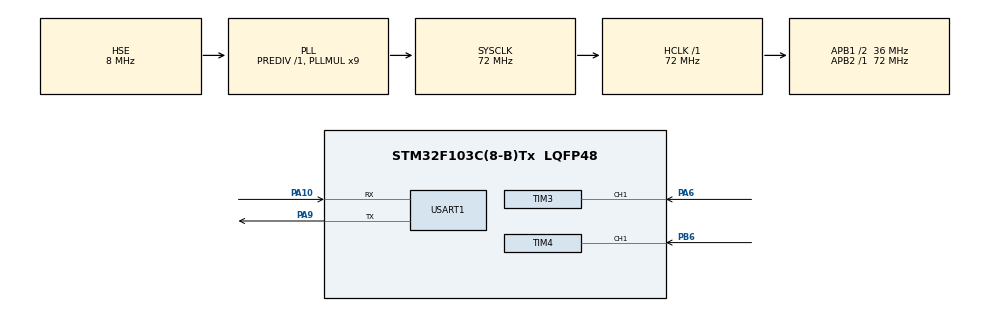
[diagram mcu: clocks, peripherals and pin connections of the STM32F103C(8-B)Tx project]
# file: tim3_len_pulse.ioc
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Mcu.Family=STM32F1
Mcu.Name=STM32F103C(8-B)Tx
Mcu.Package=LQFP48
NVIC.PriorityGroup=NVIC_PRIORITYGROUP_4
NVIC.TIM3_IRQn=true\:0\:0\:false\:false\:true\:true
NVIC.TIM4_IRQn=true\:0\:0\:false\:false\:true\:true
PA10.Mode=Asynchronous
PA10.Signal=USART1_RX
PA13.Mode=Serial_Wire
PA13.Signal=SYS_JTMS-SWDIO
PA14.Mode=Serial_Wire
PA14.Signal=SYS_JTCK-SWCLK
PA6.Signal=S_TIM3_CH1
PA9.Mode=Asynchronous
PA9.Signal=USART1_TX
PB6.Signal=S_TIM4_CH1
PD0-OSC_IN.Mode=HSE-External-Oscillator
PD0-OSC_IN.Signal=RCC_OSC_IN
PD1-OSC_OUT.Mode=HSE-External-Oscillator
PD1-OSC_OUT.Signal=RCC_OSC_OUT
ProjectManager.HeapSize=0x200
ProjectManager.StackSize=0x400
ProjectManager.TargetToolchain=TrueSTUDIO
RCC.AHBFreq_Value=72000000
RCC.APB1CLKDivider=RCC_HCLK_DIV2
RCC.APB1Freq_Value=36000000
RCC.APB1TimFreq_Value=72000000
RCC.APB2Freq_Value=72000000
RCC.APB2TimFreq_Value=72000000
RCC.HCLKFreq_Value=72000000
RCC.PLLMUL=RCC_PLL_MUL9
RCC.PLLSourceVirtual=RCC_PLLSOURCE_HSE
RCC.SYSCLKFreq_VALUE=72000000
RCC.SYSCLKSource=RCC_SYSCLKSOURCE_PLLCLK
RCC.USBFreq_Value=72000000
SH.S_TIM3_CH1.0=TIM3_CH1,Input_Capture1_from_TI1
SH.S_TIM3_CH1.1=TIM3_CH1,Input_Capture2_from_TI1
SH.S_TIM4_CH1.0=TIM4_CH1,Input_Capture1_from_TI1
TIM3.Channel-Input_Capture1_from_TI1=TIM_CHANNEL_1
TIM3.Channel-Input_Capture2_from_TI1=TIM_CHANNEL_2
TIM3.ClockDivision=TIM_CLOCKDIVISION_DIV1
TIM3.ICPolarity_CH1=TIM_INPUTCHANNELPOLARITY_RISING
TIM3.ICPolarity_CH2=TIM_INPUTCHANNELPOLARITY_FALLING
TIM3.ICPrescaler-Input_Capture1_from_TI1=TIM_ICPSC_DIV1
TIM3.Period=65535
TIM3.Prescaler=72
TIM4.Channel-Input_Capture1_from_TI1=TIM_CHANNEL_1
TIM4.Period=65535
TIM4.Prescaler=72
USART1.VirtualMode=VM_ASYNC
board=custom

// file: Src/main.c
/* USER CODE BEGIN Header */
/**
  ******************************************************************************
  * @file           : main.c
  * @brief          : Main program body
  ******************************************************************************
  ** This notice applies to any and all portions of this file
  * that are not between comment pairs USER CODE BEGIN and
  * USER CODE END. Other portions of this file, whether
  * inserted by the user or by software development tools
  * are owned by their respective copyright owners.
  *
  * COPYRIGHT(c) 2019 STMicroelectronics
  *
  * Redistribution and use in source and binary forms, with or without modification,
  * are permitted provided that the following conditions are met:
  *   1. Redistributions of source code must retain the above copyright notice,
  *      this list of conditions and the following disclaimer.
  *   2. Redistributions in binary form must reproduce the above copyright notice,
  *      this list of conditions and the following disclaimer in the documentation
  *      and/or other materials provided with the distribution.
  *   3. Neither the name of STMicroelectronics nor the names of its contributors
  *      may be used to endorse or promote products derived from this software
  *      without specific prior written permission.
  *
  * THIS SOFTWARE IS PROVIDED BY THE COPYRIGHT HOLDERS AND CONTRIBUTORS "AS IS"
  * AND ANY EXPRESS OR IMPLIED WARRANTIES, INCLUDING, BUT NOT LIMITED TO, THE
  * IMPLIED WARRANTIES OF MERCHANTABILITY AND FITNESS FOR A PARTICULAR PURPOSE ARE
  * DISCLAIMED. IN NO EVENT SHALL THE COPYRIGHT HOLDER OR CONTRIBUTORS BE LIABLE
  * FOR ANY DIRECT, INDIRECT, INCIDENTAL, SPECIAL, EXEMPLARY, OR CONSEQUENTIAL
  * DAMAGES (INCLUDING, BUT NOT LIMITED TO, PROCUREMENT OF SUBSTITUTE GOODS OR
  * SERVICES; LOSS OF USE, DATA, OR PROFITS; OR BUSINESS INTERRUPTION) HOWEVER
  * CAUSED AND ON ANY THEORY OF LIABILITY, WHETHER IN CONTRACT, STRICT LIABILITY,
  * OR TORT (INCLUDING NEGLIGENCE OR OTHERWISE) ARISING IN ANY WAY OUT OF THE USE
  * OF THIS SOFTWARE, EVEN IF ADVISED OF THE POSSIBILITY OF SUCH DAMAGE.
  *
  ******************************************************************************
  */
/* USER CODE END Header */

#include "main.h"

/* USER CODE BEGIN Includes */
#include "string.h"
/* USER CODE END Includes */

TIM_HandleTypeDef htim3;
TIM_HandleTypeDef htim4;

UART_HandleTypeDef huart1;

/* USER CODE BEGIN PV */
char trans_str[20] = {0,};
volatile uint32_t pulse_width = 0;

uint32_t rising_val = 0;
uint32_t faling_val = 0;
/* USER CODE END PV */

void SystemClock_Config(void);
static void MX_GPIO_Init(void);
static void MX_TIM3_Init(void);
static void MX_USART1_UART_Init(void);
static void MX_TIM4_Init(void);

/* USER CODE BEGIN 0 */
//////////////////////////////////////// MAX LEN PERIOD 65ms /////////////////////////////////////////////////////
void HAL_TIM_IC_CaptureCallback(TIM_HandleTypeDef *htim)
{
	if(htim->Instance == TIM3) // period or pulse
	{
		////////////////////////////////// pulse_width varian 1 ///////////////////////////////////////
		/*if(htim->Channel == HAL_TIM_ACTIVE_CHANNEL_1) // RISING с LOW на HIGH
		{
			rising_val = HAL_TIM_ReadCapturedValue(&htim3, TIM_CHANNEL_1); // Get RISING Capture value
		}

		else if(htim->Channel == HAL_TIM_ACTIVE_CHANNEL_2) // FALLING с HIGH на LOW
		{
			__HAL_TIM_SET_COUNTER(&htim3, 0x0000);
			faling_val = HAL_TIM_ReadCapturedValue(&htim3, TIM_CHANNEL_2); // Get FALLING Capture value
			pulse_width = (faling_val - rising_val);
			snprintf(trans_str, 19, "Pulse 1 %lu\n", pulse_width);
			HAL_UART_Transmit(&huart1, (uint8_t*)trans_str, strlen(trans_str), 1000);
		}*/

		////////////////////////////////// pulse_width varian 2 ///////////////////////////////////////
		if(htim->Channel == HAL_TIM_ACTIVE_CHANNEL_1) // RISING с LOW на HIGH
		{
			__HAL_TIM_SET_COUNTER(&htim3, 0x0000);
		}

		else if(htim->Channel == HAL_TIM_ACTIVE_CHANNEL_2) // FALLING с HIGH на LOW
		{
			faling_val = HAL_TIM_ReadCapturedValue(&htim3, TIM_CHANNEL_2); // Get FALLING Capture value
			snprintf(trans_str, 19, "Pulse 2 %lu\n", faling_val);
			HAL_UART_Transmit(&huart1, (uint8_t*)trans_str, strlen(trans_str), 1000);
		}
	}

	if(htim->Instance == TIM4) //  period (one channel)
	{
		if(htim->Channel == HAL_TIM_ACTIVE_CHANNEL_1)
		{
			__HAL_TIM_SET_COUNTER(&htim4, 0x0000);
			snprintf(trans_str, 19, "Per1ch %lu\n", HAL_TIM_ReadCapturedValue(&htim4, TIM_CHANNEL_1));
			HAL_UART_Transmit(&huart1, (uint8_t*)trans_str, strlen(trans_str), 1000);
		}
	}
}

//       _______          _______
// _____|       |________|       |__
//
//      | pulse |
//      |     period     |

/* USER CODE END 0 */

int main(void)
{

  /* MCU Configuration--------------------------------------------------------*/

  /* Reset of all peripherals, Initializes the Flash interface and the Systick. */
  HAL_Init();

  /* Configure the system clock */
  SystemClock_Config();

  /* Initialize all configured peripherals */
  MX_GPIO_Init();
  MX_TIM3_Init();
  MX_USART1_UART_Init();
  MX_TIM4_Init();
  /* USER CODE BEGIN 2 */
  HAL_TIM_IC_Start_IT(&htim3, TIM_CHANNEL_1);
  HAL_TIM_IC_Start_IT(&htim3, TIM_CHANNEL_2);
  HAL_TIM_IC_Start_IT(&htim4, TIM_CHANNEL_1);
  /* USER CODE END 2 */

  /* Infinite loop */
  while (1)
  {

  }
}

void SystemClock_Config(void)
{
  RCC_OscInitTypeDef RCC_OscInitStruct = {0};
  RCC_ClkInitTypeDef RCC_ClkInitStruct = {0};

  /**Initializes the CPU, AHB and APB busses clocks
  */
  RCC_OscInitStruct.OscillatorType = RCC_OSCILLATORTYPE_HSE;
  RCC_OscInitStruct.HSEState = RCC_HSE_ON;
  RCC_OscInitStruct.HSEPredivValue = RCC_HSE_PREDIV_DIV1;
  RCC_OscInitStruct.HSIState = RCC_HSI_ON;
  RCC_OscInitStruct.PLL.PLLState = RCC_PLL_ON;
  RCC_OscInitStruct.PLL.PLLSource = RCC_PLLSOURCE_HSE;
  RCC_OscInitStruct.PLL.PLLMUL = RCC_PLL_MUL9;
  if (HAL_RCC_OscConfig(&RCC_OscInitStruct) != HAL_OK)
  {
    Error_Handler();
  }
  /**Initializes the CPU, AHB and APB busses clocks
  */
  RCC_ClkInitStruct.ClockType = RCC_CLOCKTYPE_HCLK|RCC_CLOCKTYPE_SYSCLK
                              |RCC_CLOCKTYPE_PCLK1|RCC_CLOCKTYPE_PCLK2;
  RCC_ClkInitStruct.SYSCLKSource = RCC_SYSCLKSOURCE_PLLCLK;
  RCC_ClkInitStruct.AHBCLKDivider = RCC_SYSCLK_DIV1;
  RCC_ClkInitStruct.APB1CLKDivider = RCC_HCLK_DIV2;
  RCC_ClkInitStruct.APB2CLKDivider = RCC_HCLK_DIV1;

  if (HAL_RCC_ClockConfig(&RCC_ClkInitStruct, FLASH_LATENCY_2) != HAL_OK)
  {
    Error_Handler();
  }
}

static void MX_TIM3_Init(void)
{

  TIM_MasterConfigTypeDef sMasterConfig = {0};
  TIM_IC_InitTypeDef sConfigIC = {0};

  htim3.Instance = TIM3;
  htim3.Init.Prescaler = 72;
  htim3.Init.CounterMode = TIM_COUNTERMODE_UP;
  htim3.Init.Period = 65535;
  htim3.Init.ClockDivision = TIM_CLOCKDIVISION_DIV1;
  htim3.Init.AutoReloadPreload = TIM_AUTORELOAD_PRELOAD_DISABLE;
  if (HAL_TIM_IC_Init(&htim3) != HAL_OK)
  {
    Error_Handler();
  }
  sMasterConfig.MasterOutputTrigger = TIM_TRGO_RESET;
  sMasterConfig.MasterSlaveMode = TIM_MASTERSLAVEMODE_DISABLE;
  if (HAL_TIMEx_MasterConfigSynchronization(&htim3, &sMasterConfig) != HAL_OK)
  {
    Error_Handler();
  }
  sConfigIC.ICPolarity = TIM_INPUTCHANNELPOLARITY_RISING;
  sConfigIC.ICSelection = TIM_ICSELECTION_DIRECTTI;
  sConfigIC.ICPrescaler = TIM_ICPSC_DIV1;
  sConfigIC.ICFilter = 0;
  if (HAL_TIM_IC_ConfigChannel(&htim3, &sConfigIC, TIM_CHANNEL_1) != HAL_OK)
  {
    Error_Handler();
  }
  sConfigIC.ICPolarity = TIM_INPUTCHANNELPOLARITY_FALLING;
  sConfigIC.ICSelection = TIM_ICSELECTION_INDIRECTTI;
  if (HAL_TIM_IC_ConfigChannel(&htim3, &sConfigIC, TIM_CHANNEL_2) != HAL_OK)
  {
    Error_Handler();
  }

}

static void MX_TIM4_Init(void)
{

  TIM_MasterConfigTypeDef sMasterConfig = {0};
  TIM_IC_InitTypeDef sConfigIC = {0};

  htim4.Instance = TIM4;
  htim4.Init.Prescaler = 72;
  htim4.Init.CounterMode = TIM_COUNTERMODE_UP;
  htim4.Init.Period = 65535;
  htim4.Init.ClockDivision = TIM_CLOCKDIVISION_DIV1;
  htim4.Init.AutoReloadPreload = TIM_AUTORELOAD_PRELOAD_DISABLE;
  if (HAL_TIM_IC_Init(&htim4) != HAL_OK)
  {
    Error_Handler();
  }
  sMasterConfig.MasterOutputTrigger = TIM_TRGO_RESET;
  sMasterConfig.MasterSlaveMode = TIM_MASTERSLAVEMODE_DISABLE;
  if (HAL_TIMEx_MasterConfigSynchronization(&htim4, &sMasterConfig) != HAL_OK)
  {
    Error_Handler();
  }
  sConfigIC.ICPolarity = TIM_INPUTCHANNELPOLARITY_RISING;
  sConfigIC.ICSelection = TIM_ICSELECTION_DIRECTTI;
  sConfigIC.ICPrescaler = TIM_ICPSC_DIV1;
  sConfigIC.ICFilter = 0;
  if (HAL_TIM_IC_ConfigChannel(&htim4, &sConfigIC, TIM_CHANNEL_1) != HAL_OK)
  {
    Error_Handler();
  }

}

static void MX_USART1_UART_Init(void)
{

  huart1.Instance = USART1;
  huart1.Init.BaudRate = 115200;
  huart1.Init.WordLength = UART_WORDLENGTH_8B;
  huart1.Init.StopBits = UART_STOPBITS_1;
  huart1.Init.Parity = UART_PARITY_NONE;
  huart1.Init.Mode = UART_MODE_TX_RX;
  huart1.Init.HwFlowCtl = UART_HWCONTROL_NONE;
  huart1.Init.OverSampling = UART_OVERSAMPLING_16;
  if (HAL_UART_Init(&huart1) != HAL_OK)
  {
    Error_Handler();
  }

}

static void MX_GPIO_Init(void)
{

  /* GPIO Ports Clock Enable */
  __HAL_RCC_GPIOD_CLK_ENABLE();
  __HAL_RCC_GPIOA_CLK_ENABLE();
  __HAL_RCC_GPIOB_CLK_ENABLE();

}

void Error_Handler(void)
{
  /* USER CODE BEGIN Error_Handler_Debug */
  /* User can add his own implementation to report the HAL error return state */
	HAL_UART_Transmit(&huart1, (uint8_t*)"ERROR\n", 6, 1000);
  /* USER CODE END Error_Handler_Debug */
}

/************************ (C) COPYRIGHT STMicroelectronics *****END OF FILE****/
